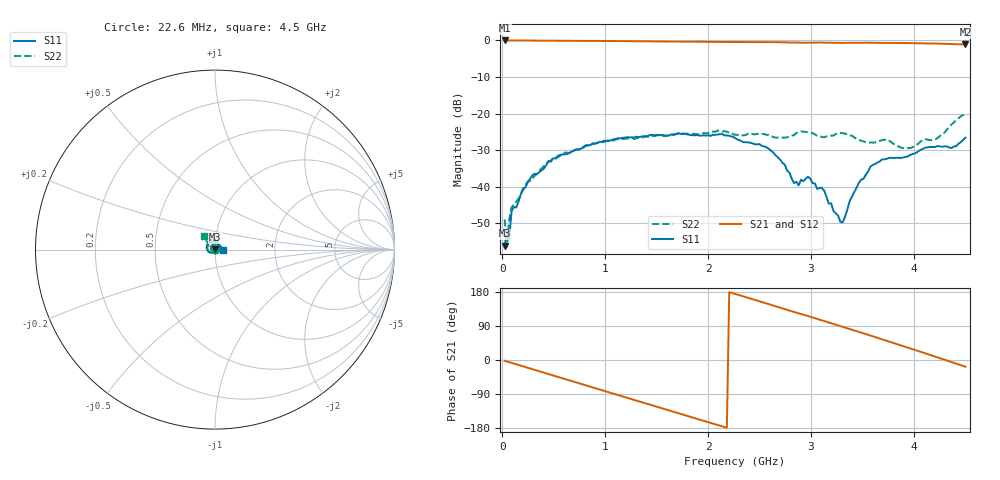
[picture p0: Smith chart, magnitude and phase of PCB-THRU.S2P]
!Agilent Technologies,E5071C,MY46101151,A.11.34
!Date: Mon Sep 17 23:11:27 2018
!Data & Calibration Information:
!Freq	S11:SOLT2(ON)	S21:SOLT2(ON)	S12:SOLT2(ON)	S22:SOLT2(ON)
!PortZ  Port1:50+j0  Port2:50+j0
!Above PortZ is port z conversion or system Z0 setting when saving the data.
!When reading, reference impedance value at option line is always used.
# Hz S dB R 50
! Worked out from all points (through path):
!   200 points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, 22.6 MHz to 4.5 GHz, reference 50 ohm
!   highest |S21| = 0.01 dB at 22.6 MHz (marker M1); lowest = -1.1 dB at 4.5 GHz (marker M2)
!   group delay of S21, straight-line fit = 231 ps
!   lowest |S11| = -56.2 dB at 22.6 MHz (marker M3), VSWR 1.00, Z = 50 + j0.152 ohm
!   |S11| at or under -10 dB: start of sweep to end of sweep
!   |S22| runs from -56.3 to -20.1 dB; largest |S21 - S12| = 0.0016
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2.25995e7  -56.24 80.3  0.01 -2.0  0.00 -2.0  -49.01 98.3
4.5099e7  -52.20 -140.5  0.00 -3.8  0.00 -3.9  -56.34 -124.7
6.75985e7  -54.35 -117.9  -0.00 -5.8  -0.00 -5.7  -48.99 -115.7
9.0098e7  -46.85 -111.2  -0.00 -7.6  -0.00 -7.6  -45.75 -123.2
2.925935e8  -36.92 -117.5  -0.03 -24.3  -0.03 -24.3  -37.86 -123.0
4.95089e8  -32.26 -132.2  -0.06 -40.8  -0.06 -40.8  -32.09 -137.5
7.875825e8  -29.15 -154.7  -0.11 -64.8  -0.10 -64.8  -29.39 -162.9
1.147574e9  -26.80 170.5  -0.15 -94.4  -0.15 -94.3  -26.86 167.6
1.530066e9  -25.93 143.1  -0.24 -125.7  -0.24 -125.8  -26.12 141.7
1.890058e9  -25.86 114.2  -0.34 -155.2  -0.33 -155.2  -25.63 124.8
2.27255e9  -26.90 76.4  -0.39 173.5  -0.38 173.5  -25.80 103.8
2.587542e9  -29.63 42.5  -0.45 147.5  -0.45 147.5  -25.91 95.3
2.835037e9  -39.07 24.1  -0.57 126.6  -0.57 126.6  -25.93 100.3
3.015033e9  -39.07 4.6  -0.59 112.3  -0.58 112.3  -25.38 86.2
3.12753e9  -41.12 -59.5  -0.58 102.6  -0.58 102.6  -26.50 87.7
3.307526e9  -49.81 -163.3  -0.66 87.7  -0.65 87.7  -25.39 81.6
3.375025e9  -44.03 -132.8  -0.64 82.1  -0.63 82.2  -25.93 76.4
3.57752e9  -34.55 -175.3  -0.62 64.5  -0.61 64.5  -27.93 82.8
3.757516e9  -32.16 155.4  -0.67 49.0  -0.66 49.0  -27.46 84.0
3.915013e9  -31.89 129.7  -0.69 34.9  -0.68 34.9  -29.64 93.2
4.207506e9  -29.15 69.2  -0.85 8.8  -0.84 8.8  -27.07 122.7
4.5e9  -26.61 -0.2  -1.08 -17.8  -1.08 -17.8  -20.10 128.5
